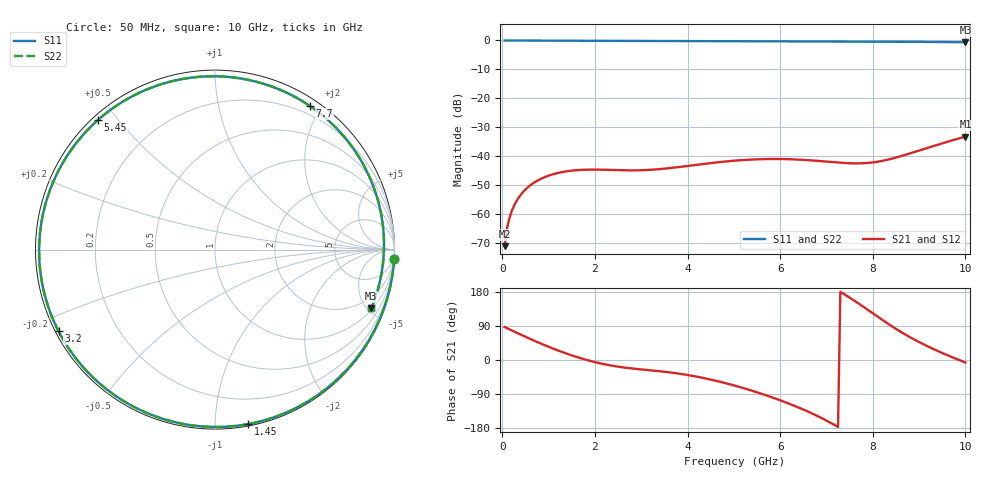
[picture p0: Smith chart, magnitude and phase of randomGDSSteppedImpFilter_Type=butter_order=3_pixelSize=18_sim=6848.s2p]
! freq	dB(S11)	phase(S11)	dB(S12)	phase(S12)
!  dB(S21)	phase(S21)	dB(S22)	phase(S22)
!S-par simulation data
#  GHz  S  DB  R 50
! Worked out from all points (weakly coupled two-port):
!   200 points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, 50 MHz to 10 GHz, reference 50 ohm
!   highest |S21| = -33.17 dB at 10 GHz (marker M1); lowest = -71.0 dB at 50 MHz (marker M2)
!   lowest |S11| = -0.6 dB at 10 GHz (marker M3), VSWR 27.45, Z = 54.6 - j264 ohm
!   |S11| at or under -10 dB: nowhere
!   |S22| runs from -0.6 to 0.0 dB; largest |S21 - S12| = 0
!   S11 on the Smith chart (normalised r, x): 50 MHz: 0, -39; 1.45 GHz: 0.01, -1.21; 3.2 GHz: 0.01, -0.24; 5.45 GHz: 0.02, +0.44; 7.7 GHz: 0.09, +1.85; 10 GHz: 1.09, -5.28
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0.05  -0.00 -2.9  -70.96 87.0  -70.96 87.0  -0.00 -2.9
0.1  -0.01 -5.9  -64.97 84.1  -64.97 84.1  -0.01 -5.9
0.2  -0.02 -11.7  -59.01 78.3  -59.01 78.3  -0.02 -11.7
0.3  -0.03 -17.4  -55.58 72.6  -55.58 72.6  -0.03 -17.4
0.45  -0.04 -26.0  -52.26 64.1  -52.26 64.1  -0.04 -26.0
0.65  -0.05 -37.3  -49.44 53.0  -49.44 53.0  -0.05 -37.3
0.95  -0.07 -53.7  -46.92 37.3  -46.92 37.3  -0.07 -53.7
1.45  -0.09 -79.3  -45.00 14.3  -45.00 14.3  -0.09 -79.3
1.75  -0.10 -93.6  -44.61 2.6  -44.61 2.6  -0.10 -93.6
2.5  -0.13 -125.9  -44.74 -17.6  -44.74 -17.6  -0.13 -125.9
3.2  -0.15 -152.5  -44.63 -27.3  -44.63 -27.3  -0.15 -152.5
3.4  -0.16 -159.7  -44.39 -29.7  -44.39 -29.7  -0.15 -159.7
4.2  -0.18 173.0  -42.88 -44.0  -42.88 -44.0  -0.18 173.0
5.05  -0.22 145.2  -41.42 -68.7  -41.42 -68.7  -0.22 145.2
5.45  -0.24 132.2  -41.03 -83.2  -41.03 -83.2  -0.24 132.2
6.1  -0.27 110.8  -40.92 -110.9  -40.92 -110.9  -0.27 110.8
6.7  -0.30 90.8  -41.41 -141.7  -41.41 -141.7  -0.30 90.8
7.2  -0.33 73.8  -42.07 -173.1  -42.07 -173.1  -0.33 73.8
7.7  -0.36 56.6  -42.41 148.6  -42.41 148.6  -0.36 56.6
8.35  -0.41 34.3  -41.02 94.0  -41.02 94.0  -0.41 34.3
9.15  -0.50 7.1  -37.19 38.2  -37.19 38.2  -0.50 7.1
10  -0.63 -20.6  -33.17 -6.5  -33.17 -6.5  -0.63 -20.6
